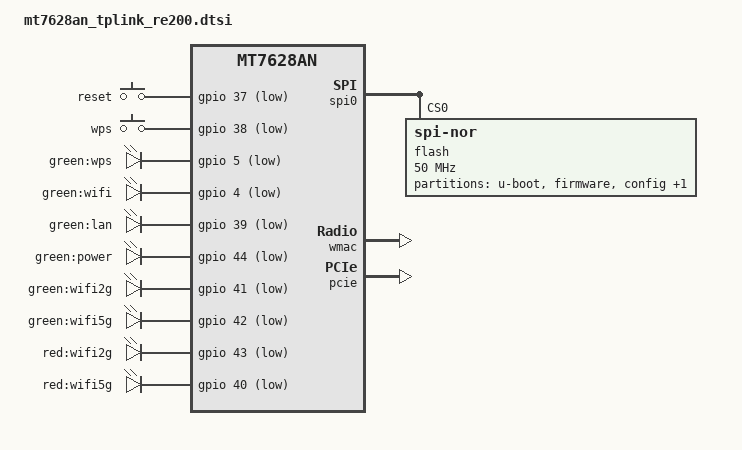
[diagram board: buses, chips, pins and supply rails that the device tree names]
// SPDX-License-Identifier: GPL-2.0-or-later OR MIT

#include "mt7628an.dtsi"

#include <dt-bindings/gpio/gpio.h>
#include <dt-bindings/input/input.h>

/ {
	aliases {
		label-mac-device = &ethernet;
		led-boot = &led_power;
		led-failsafe = &led_power;
		led-running = &led_power;
		led-upgrade = &led_power;
	};

	chosen {
		bootargs = "console=ttyS0,57600n8";
	};

	keys {
		compatible = "gpio-keys";

		reset {
			label = "reset";
			gpios = <&gpio 37 GPIO_ACTIVE_LOW>;
			linux,code = <KEY_RESTART>;
		};

		wps {
			label = "wps";
			gpios = <&gpio 38 GPIO_ACTIVE_LOW>;
			linux,code = <KEY_WPS_BUTTON>;
		};
	};

	leds {
		compatible = "gpio-leds";

		wps {
			label = "green:wps";
			gpios = <&gpio 5 GPIO_ACTIVE_LOW>;
		};

		wifi {
			label = "green:wifi";
			gpios = <&gpio 4 GPIO_ACTIVE_LOW>;
		};

		lan {
			label = "green:lan";
			gpios = <&gpio 39 GPIO_ACTIVE_LOW>;
		};

		led_power: power {
			label = "green:power";
			gpios = <&gpio 44 GPIO_ACTIVE_LOW>;
		};

		wifi2g_green {
			label = "green:wifi2g";
			gpios = <&gpio 41 GPIO_ACTIVE_LOW>;
			linux,default-trigger = "phy0tpt";
		};

		wifi5g_green {
			label = "green:wifi5g";
			gpios = <&gpio 42 GPIO_ACTIVE_LOW>;
			linux,default-trigger = "phy1tpt";
		};

		wifi2g_red {
			label = "red:wifi2g";
			gpios = <&gpio 43 GPIO_ACTIVE_LOW>;
		};

		wifi5g_red {
			label = "red:wifi5g";
			gpios = <&gpio 40 GPIO_ACTIVE_LOW>;
		};
	};
};

&spi0 {
	status = "okay";

	flash@0 {
		compatible = "jedec,spi-nor";
		reg = <0>;
		spi-max-frequency = <50000000>;

		partitions {
			compatible = "fixed-partitions";
			#address-cells = <1>;
			#size-cells = <1>;

			partition@0 {
				label = "u-boot";
				reg = <0x0 0x20000>;
				read-only;
			};

			partition@20000 {
				compatible = "tplink,firmware";
				label = "firmware";
				reg = <0x20000 0x7a0000>;
			};

			config: partition@7c0000 {
				label = "config";
				reg = <0x7c0000 0x30000>;
				read-only;
			};

			radio: partition@7f0000 {
				label = "radio";
				reg = <0x7f0000 0x10000>;
				read-only;
			};
		};
	};
};

&state_default {
	gpio {
		groups = "p4led_an", "p3led_an", "p2led_an", "p1led_an",
				"p0led_an", "wled_an", "i2c", "wdt", "refclk";
		function = "gpio";
	};
};

&ethernet {
	mtd-mac-address = <&config 0x2008>;
};

&wmac {
	status = "okay";

	mediatek,mtd-eeprom = <&radio 0x0>;
	mtd-mac-address = <&config 0x2008>;
	mtd-mac-address-increment = <1>;
};

&pcie {
	status = "okay";
};

&pcie0 {
	mt76@0,0 {
		reg = <0x0000 0 0 0 0>;
		mediatek,mtd-eeprom = <&radio 0x8000>;
		ieee80211-freq-limit = <5000000 6000000>;
		mtd-mac-address = <&config 0x2008>;
		mtd-mac-address-increment = <2>;
	};
};
